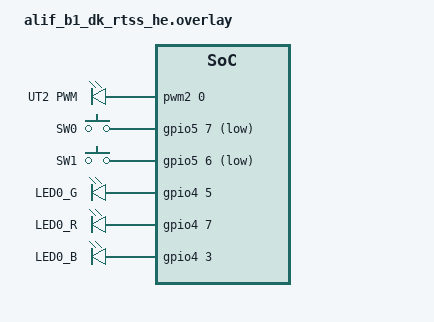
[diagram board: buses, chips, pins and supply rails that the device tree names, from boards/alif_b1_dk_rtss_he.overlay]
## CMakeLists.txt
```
# Copyright (C) 2024 Alif Semiconductor - All Rights Reserved.
# Use, distribution and modification of this code is permitted under the
# terms stated in the Alif Semiconductor Software License Agreement
#
# You should have received a copy of the Alif Semiconductor Software
# License Agreement with this file. If not, please write to:
# contact@alifsemi.com, or visit: https://alifsemi.com/license

cmake_minimum_required(VERSION 3.13.1)

if(CONFIG_CHIP_FACTORY_DATA)
set(EXTRA_DTC_OVERLAY_FILE "b1_factorydata_partition.overlay")
set(OVERLAY_CONFIG "factory_data.conf")
endif()

find_package(Zephyr REQUIRED HINTS $ENV{ZEPHYR_BASE})
project(matter-lighting-app)

set(CHIP_ROOT ${ZEPHYR_CONNECTEDHOMEIP_MODULE_DIR})
set(ALIF_COMMON ${ZEPHYR_SDK_ALIF_MODULE_DIR}/subsys/matter)
set(ALIF_PLATFORM ${CHIP_ROOT}/examples/platform/alif)
set(LIGHTING_COMMON ${CHIP_ROOT}/examples/lighting-app/lighting-common)
set(MATTER_GEN_DIR ${CHIP_ROOT}/zzz_generated/)

include(${ZEPHYR_CONNECTEDHOMEIP_MODULE_DIR}/config/alif/app/enable-gnu-std.cmake)
include(${ZEPHYR_CONNECTEDHOMEIP_MODULE_DIR}/src/app/chip_data_model.cmake)

# -Wmaybe-uninitialized has too many false positives, including on std::optional
# and chip::Optional.  Make it nonfatal.
#
# See https://gcc.gnu.org/bugzilla/show_bug.cgi?id=80635
target_compile_options(app PRIVATE -Werror -Wno-error=maybe-uninitialized)

target_include_directories(app PRIVATE
                           src/include
                           ${LIGHTING_COMMON}
                           ${MATTER_GEN_DIR}
                           ${MATTER_GEN_DIR}/app-common
                           ${MATTER_GEN_DIR}/lighting-app
                           ${ALIF_COMMON}/common
                           ${ALIF_COMMON}/icd
                           ${ALIF_COMMON}/pwmdevice)

target_sources(app PRIVATE
               src/main.cpp
               src/AppTask.cpp
               src/ZclCallbacks.cpp
               ${CHIP_ROOT}/src/app/util/persistence/DeferredAttributePersistenceProvider.cpp
               ${ALIF_COMMON}/icd/icdHandler.cpp
               ${ALIF_COMMON}/pwmdevice/PWMDevice.cpp
               ${ALIF_COMMON}/common/MatterStack.cpp
               ${ALIF_COMMON}/common/MatterUi.cpp
               ${ALIF_COMMON}/common/FabricTableDelegate.cpp)
              

chip_configure_data_model(app
    INCLUDE_SERVER
    ZAP_FILE ${CMAKE_CURRENT_SOURCE_DIR}/src/lighting-app.zap
)
```

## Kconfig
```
# Copyright(C) 2024 Alif Semiconductor - All Rights Reserved.
# Use, distribution and modification of this code is permitted under the
# terms stated in the Alif Semiconductor Software License Agreement
#
# You should have received a copy of the Alif Semiconductor Software
# License Agreement with this file.If not, please write to:
# contact @alifsemi.com, or visit : https: // alifsemi.com/license

mainmenu "Matter Alif SDK Connect Lighting Example Application with shell test commands"

# Sample configuration used for Thread networking
if NET_L2_OPENTHREAD

choice OPENTHREAD_DEVICE_TYPE
	default OPENTHREAD_MTD
endchoice

endif # NET_L2_OPENTHREAD

rsource "${ZEPHYR_CONNECTEDHOMEIP_MODULE_DIR}/config/alif/chip-module/Kconfig.features"
rsource "${ZEPHYR_CONNECTEDHOMEIP_MODULE_DIR}/config/alif/chip-module/Kconfig.defaults"
source "Kconfig.zephyr"
```

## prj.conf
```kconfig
#  Copyright (C) 2024 Alif Semiconductor - All Rights Reserved.
#  Use, distribution and modification of this code is permitted under the
#  terms stated in the Alif Semiconductor Software License Agreement
#
#  You should have received a copy of the Alif Semiconductor Software
#  License Agreement with this file. If not, please write to:
#  contact@alifsemi.com, or visit: https://alifsemi.com/license

# Disable XIP
CONFIG_XIP=y

# Enable CHIP
CONFIG_CHIP=y
CONFIG_CHIP_PROJECT_CONFIG="src/include/CHIPProjectConfig.h"
# 32773 == 0x8005 (example lighting-app)
CONFIG_CHIP_DEVICE_PRODUCT_ID=32773
CONFIG_STD_CPP17=y

CONFIG_OPENTHREAD_THREAD_STACK_SIZE=8000
CONFIG_LOG_MODE_DEFERRED=y
CONFIG_LOG=y
CONFIG_SHELL=y
CONFIG_LOG_BUFFER_SIZE=5020

# General networking settings
CONFIG_NET_IF_MCAST_IPV6_ADDR_COUNT=14

# Enable CHIP pairing automatically on application start.
CONFIG_CHIP_ENABLE_PAIRING_AUTOSTART=y
# After system reset subscribe request are activated a properly automatically
CONFIG_CHIP_PERSISTENT_SUBSCRIPTIONS=y

# Enable PWM
CONFIG_PWM=y

# OpenThread configuration
CONFIG_NET_L2_OPENTHREAD=y

#Network setup
CONFIG_NET_TCP=y
CONFIG_NET_IPV6_NBR_CACHE=n
CONFIG_NET_IPV6_MLD=n
CONFIG_NET_CONFIG_NEED_IPV4=n

## Openthread parameters
CONFIG_SHELL=y
CONFIG_OPENTHREAD_SHELL=y
CONFIG_SHELL_STACK_SIZE=3072
CONFIG_OPENTHREAD_THREAD_VERSION_1_3=y
CONFIG_OPENTHREAD_PING_SENDER=y
# Matter stack will will enable 15.4 interface
CONFIG_OPENTHREAD_MANUAL_START=y

# Bluetooth Low Energy configuration
CONFIG_BT_DEVICE_NAME="MatterLight"
CONFIG_BT_DEVICE_NAME_DYNAMIC=n

# BT configuration

CONFIG_BT=y
CONFIG_BT_CENTRAL=y
CONFIG_BT_PERIPHERAL=y
CONFIG_BT_PRIVACY=n
CONFIG_BT_SMP=y
CONFIG_BT_SIGNING=y
CONFIG_BT_ATT_PREPARE_COUNT=2
CONFIG_BT_GATT_CLIENT=y
CONFIG_BT_L2CAP_DYNAMIC_CHANNEL=y
CONFIG_BT_SHELL=y
CONFIG_BT_L2CAP_TX_BUF_COUNT=4
CONFIG_BT_ID_MAX=2
CONFIG_BT_EATT=y
CONFIG_BT_L2CAP_ECRED=y
CONFIG_BT_GATT_DYNAMIC_DB=y
CONFIG_BT_FILTER_ACCEPT_LIST=y
CONFIG_BT_REMOTE_INFO=y
CONFIG_BT_REMOTE_VERSION=y
CONFIG_BT_GATT_AUTO_DISCOVER_CCC=y

CONFIG_BT_EXT_ADV=y
CONFIG_BT_EXT_ADV_LEGACY_SUPPORT=y
CONFIG_BT_PER_ADV=y
CONFIG_BT_PER_ADV_SYNC=y

CONFIG_BT_USER_DATA_LEN_UPDATE=y
CONFIG_BT_AUTO_DATA_LEN_UPDATE=y

CONFIG_BT_USER_PHY_UPDATE=y
CONFIG_BT_AUTO_PHY_UPDATE=y

# Other settings
CONFIG_THREAD_NAME=y
CONFIG_CHIP_LIB_SHELL=y

# Reduce application size
CONFIG_USE_SEGGER_RTT=n

# Flash and Settings storage configutaion
CONFIG_FLASH=y
CONFIG_FLASH_PAGE_LAYOUT=y
CONFIG_FLASH_MAP=y
CONFIG_NVS=y
CONFIG_SETTINGS=y

# Disable GET Opt for fix duplicate implementation
CONFIG_GETOPT=n
CONFIG_IEEE802154_ALIF_AHI_MSG_LIB=y
```

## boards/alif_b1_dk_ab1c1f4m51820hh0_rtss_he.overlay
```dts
/* Copyright (C) 2024 Alif Semiconductor - All Rights Reserved.
 * Use, distribution and modification of this code is permitted under the
 * terms stated in the Alif Semiconductor Software License Agreement
 *
 * You should have received a copy of the Alif Semiconductor Software
 * License Agreement with this file. If not, please write to:
 * contact@alifsemi.com, or visit: https://alifsemi.com/license
 */
#include <dt-bindings/pinctrl/balletto-pinctrl.h>
#include <dt-bindings/gpio/gpio.h>
#include <zephyr/dt-bindings/input/input-event-codes.h>

/* for "buttons" node gpio5_7 & 5_6, enable software pull-up */


&{/} {
	chosen {
		zephyr,console = &uart2;
		zephyr,shell-uart = &uart2;
		zephyr,bt-uart = &uart_hci;
	};

	aliases {
		led0 = &aled1;
		led2 = &aled2;
		pwm-led0 = &pwm_ut2;
		sw0 = &button0;
	};

	buttons {
		compatible = "gpio-keys";
		button0: button_0 {
			gpios = < &gpio5 7 GPIO_ACTIVE_LOW >;
			label = "SW0";
			zephyr,code = <INPUT_KEY_0>;
		};
	};

	leds {
		compatible = "gpio-leds";
		aled0: led_0 {
			gpios = <&gpio4 5 0>;
			label = "LED0_G";
		};

		aled1: led_1 {
			gpios = <&gpio4 7 0>;
			label = "LED0_R";
		};

		aled2: led_2 {
			gpios = <&gpio4 3 0>;
			label = "LED0_B";
		};
	};

	pwmleds {

		compatible = "pwm-leds";
		pwm_ut2: pwm_ut2 {
			pwms = <&pwm2 1 PWM_MSEC(20) PWM_POLARITY_NORMAL>;
			label = "UT2 PWM";
		};
	};
};

&utimer2 {
	status = "okay";
	pwm2: pwm2 {
		pinctrl-0 = < &pinctrl_ut2 >;
		pinctrl-names = "default";
		status = "okay";
	};
};

&pinctrl_gpio5 {
	group0 {
		pinmux = < PIN_P5_0__GPIO >,
			 < PIN_P5_1__GPIO >,
			 < PIN_P5_2__GPIO >,
			 < PIN_P5_3__GPIO >,
			 < PIN_P5_4__GPIO >,
			 < PIN_P5_5__GPIO >,
			 < PIN_P5_6__GPIO >,
			 < PIN_P5_7__GPIO >;
		read-enable = < 0x1 >;
	};

	group1 {
		pinmux = < PIN_P5_7__GPIO >;
		driver-state-control = <1>;
	};
};
```

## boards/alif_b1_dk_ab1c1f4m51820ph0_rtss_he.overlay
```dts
/* Copyright (C) 2024 Alif Semiconductor - All Rights Reserved.
 * Use, distribution and modification of this code is permitted under the
 * terms stated in the Alif Semiconductor Software License Agreement
 *
 * You should have received a copy of the Alif Semiconductor Software
 * License Agreement with this file. If not, please write to:
 * contact@alifsemi.com, or visit: https://alifsemi.com/license
 */
#include <dt-bindings/pinctrl/balletto-pinctrl.h>
#include <dt-bindings/gpio/gpio.h>
#include <zephyr/dt-bindings/input/input-event-codes.h>

/* for "buttons" node gpio5_7 & 5_6, enable software pull-up */


&{/} {
	chosen {
		zephyr,console = &uart2;
		zephyr,shell-uart = &uart2;
		zephyr,bt-uart = &uart_hci;
	};

	aliases {
		led0 = &aled1;
		led2 = &aled2;
		pwm-led0 = &pwm_ut2;
		sw0 = &button0;
	};

	buttons {
		compatible = "gpio-keys";
		button0: button_0 {
			gpios = < &gpio5 7 GPIO_ACTIVE_LOW >;
			label = "SW0";
			zephyr,code = <INPUT_KEY_0>;
		};
	};

	leds {
		compatible = "gpio-leds";
		aled0: led_0 {
			gpios = <&gpio4 5 0>;
			label = "LED0_G";
		};

		aled1: led_1 {
			gpios = <&gpio4 7 0>;
			label = "LED0_R";
		};

		aled2: led_2 {
			gpios = <&gpio4 3 0>;
			label = "LED0_B";
		};
	};
};

&pinctrl_gpio5 {
	group0 {
		pinmux = < PIN_P5_0__GPIO >,
			 < PIN_P5_1__GPIO >,
			 < PIN_P5_2__GPIO >,
			 < PIN_P5_3__GPIO >,
			 < PIN_P5_4__GPIO >,
			 < PIN_P5_5__GPIO >,
			 < PIN_P5_6__GPIO >,
			 < PIN_P5_7__GPIO >;
		read-enable = < 0x1 >;
	};

	group1 {
		pinmux = < PIN_P5_7__GPIO >;
		driver-state-control = <1>;
	};
};
```

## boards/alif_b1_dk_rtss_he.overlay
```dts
/* Copyright (C) 2024 Alif Semiconductor - All Rights Reserved.
 * Use, distribution and modification of this code is permitted under the
 * terms stated in the Alif Semiconductor Software License Agreement
 *
 * You should have received a copy of the Alif Semiconductor Software
 * License Agreement with this file. If not, please write to:
 * contact@alifsemi.com, or visit: https://alifsemi.com/license
 */
#include <dt-bindings/pinctrl/balletto-pinctrl.h>
#include <dt-bindings/gpio/gpio.h>
#include <zephyr/dt-bindings/input/input-event-codes.h>

/* for "buttons" node gpio5_7 & 5_6, enable software pull-up */


&{/} {
	chosen {
		zephyr,console = &uart2;
		zephyr,shell-uart = &uart2;
		zephyr,bt-uart = &uart_hci;
	};

	aliases {
		led0 = &aled1;
		led2 = &aled2;
		pwm-led0 = &pwm_ut2;
		sw0 = &button0;
		sw1 = &button1;
	};
	pwmleds {
		compatible = "pwm-leds";
		pwm_ut2: pwm_ut2 {
			pwms = <&pwm2 0 PWM_MSEC(20) PWM_POLARITY_NORMAL>;
			label = "UT2 PWM";
		};
	};
	buttons {
		compatible = "gpio-keys";
		button0: button_0 {
			gpios = < &gpio5 7 GPIO_ACTIVE_LOW >;
			label = "SW0";
			zephyr,code = <INPUT_KEY_0>;
		};
		button1: button_1 {
			gpios = < &gpio5 6 GPIO_ACTIVE_LOW >;
			label = "SW1";
			zephyr,code = <INPUT_KEY_1>;
		};
	};

	leds {
		compatible = "gpio-leds";
		aled0: led_0 {
			gpios = <&gpio4 5 0>;
			label = "LED0_G";
		};

		aled1: led_1 {
			gpios = <&gpio4 7 0>;
			label = "LED0_R";
		};

		aled2: led_2 {
			gpios = <&gpio4 3 0>;
			label = "LED0_B";
		};
	};
};

&pinctrl_gpio5 {
	group0 {
		pinmux = < PIN_P5_0__GPIO >,
			 < PIN_P5_1__GPIO >,
			 < PIN_P5_2__GPIO >,
			 < PIN_P5_3__GPIO >,
			 < PIN_P5_4__GPIO >,
			 < PIN_P5_5__GPIO >,
			 < PIN_P5_6__GPIO >,
			 < PIN_P5_7__GPIO >;
		read_enable = < 0x1 >;
	};

	group1 {
		pinmux = < PIN_P5_6__GPIO >,
			 < PIN_P5_7__GPIO >;
		driver_state_control = <1>;
	};
};
```

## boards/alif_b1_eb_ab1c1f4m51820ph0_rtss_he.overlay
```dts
#include <zephyr/dt-bindings/dma/alif_dma_event_router.h>

#include <dt-bindings/pinctrl/balletto-pinctrl.h>
#include <dt-bindings/gpio/gpio.h>
#include <zephyr/dt-bindings/input/input-event-codes.h>

&{/} {
	chosen {
		zephyr,console = &uart2;
		zephyr,shell-uart = &uart2;
		zephyr,bt-hci = &alif_hci_uart;
		zephyr,hci-uart = &uart_hci;
		zephyr,uart-mcumgr = &uart2;
		zephyr,entropy = &rng;
	};

	aliases {
		led0 = &aled1;
		led2 = &aled2;
		pwm-led0 = &pwm_ut2;
		sw0 = &button0;
		watchdog0 = &wdog0;
	};

	leds {
		compatible = "gpio-leds";

		aled0: led_0 {
			gpios = <&gpio4 5 0>;
			label = "LED0_G";
		};

		aled1: led_1 {
			gpios = <&gpio4 7 0>;
			label = "LED0_R";
		};

		aled2: led_2 {
			gpios = <&gpio4 3 0>;
			label = "LED0_B";
		};
	};

	pwmleds {

		compatible = "pwm-leds";
		pwm_ut2: pwm_ut2 {
			pwms = <&pwm2 1 PWM_MSEC(20) PWM_POLARITY_NORMAL>;
			label = "UT2 PWM";
		};
	};

	buttons {
		compatible = "gpio-keys";

		button0: button_0 {
			gpios = < &gpio8 6 0 >;
			label = "SW0";
		};

		button1: button_1 {
			gpios = < &gpio8 7 0 >;
			label = "SW1";
		};
	};
};

&ieee802154 {
	status = "okay";
};

&utimer2 {
	status = "okay";
	pwm2: pwm2 {
		pinctrl-0 = < &pinctrl_ut2 >;
		pinctrl-names = "default";
		status = "okay";
	};
};

&uart2 {
	status = "okay";
};

&evtrtr2 {
	status = "okay";
};

&uart_hci {
	clock-frequency = <160000000>;
	/*
	 * Cell 0: ALIF_DMA_ENCODE(channel, dma_group, handshake)
	 *   - channel: Physical DMA channel (0 for RX, 1 for TX)
	 *   - dma_group: Input source selection (0) - selects which peripheral input
	 *   - handshake: Enable hardware handshaking (1 for UART)
	 * Cell 1: Peripheral request number (26 for RX, 27 for TX)
	 */
	dmas = <&evtrtr2 ALIF_DMA_ENCODE(HCI_UART_DMA_RX_CH, 0, 1) HCI_UART_DMA_RX_REQ>,
	       <&evtrtr2 ALIF_DMA_ENCODE(HCI_UART_DMA_TX_CH, 0, 1) HCI_UART_DMA_TX_REQ>;
	dma-names = "rx", "tx";
	status = "okay";
};

&uart_ahi {
	clock-frequency = <160000000>;
	pinctrl-0 = <&pinctrl_ahi_trace>;
	pinctrl-names = "default";
	/*
	 * Cell 0: ALIF_DMA_ENCODE(channel, dma_group, handshake)
	 *   - channel: Physical DMA channel (2 for RX, 3 for TX)
	 *   - dma_group: Input source selection (0) - selects which peripheral input
	 *   - handshake: Enable hardware handshaking (1 for UART)
	 * Cell 1: Peripheral request number (2 for RX, 3 for TX)
	 */
	dmas = <&evtrtr2 ALIF_DMA_ENCODE(AHI_UART_DMA_RX_CH, 0, 1) AHI_UART_DMA_RX_REQ>,
	       <&evtrtr2 ALIF_DMA_ENCODE(AHI_UART_DMA_TX_CH, 0, 1) AHI_UART_DMA_TX_REQ>;
	dma-names = "rx", "tx";
	status = "okay";
};

&dma2 {
	status = "okay";
};

&gpio4 {
	status = "okay";
};

&gpio8 {
	status = "okay";
};

&pinctrl_gpio8 {
	group0 {
		pinmux = < PIN_P8_0__GPIO >,
			 < PIN_P8_1__GPIO >,
			 < PIN_P8_2__GPIO >,
			 < PIN_P8_3__GPIO >,
			 < PIN_P8_4__GPIO >,
			 < PIN_P8_5__GPIO >,
			 < PIN_P8_6__GPIO >,
			 < PIN_P8_7__GPIO >;
		read-enable = < 0x1 >;
	};

	group1 {
		pinmux = < PIN_P8_6__GPIO >,
			 < PIN_P8_7__GPIO >;
		driver-state-control = <1>;
	};
};
```

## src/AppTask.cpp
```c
/* Copyright (C) 2024 Alif Semiconductor - All Rights Reserved.
 * Use, distribution and modification of this code is permitted under the
 * terms stated in the Alif Semiconductor Software License Agreement
 *
 * You should have received a copy of the Alif Semiconductor Software
 * License Agreement with this file. If not, please write to:
 * contact@alifsemi.com, or visit: https://alifsemi.com/license
 */

#include "AppTask.h"

#include "AppConfig.h"
#include "MatterStack.h"
#include "MatterUi.h"
#include "PWMDevice.h"
#include "icdHandler.h"
#include <app/InteractionModelEngine.h>
#include <DeviceInfoProviderImpl.h>
#include <app-common/zap-generated/attributes/Accessors.h>
#include <app/clusters/identify-server/identify-server.h>
#include <app/server/Dnssd.h>
#include <setup_payload/OnboardingCodesUtil.h>
#include <app/server/Server.h>
#include <app/util/persistence/DefaultAttributePersistenceProvider.h>
#include <app/util/persistence/DeferredAttributePersistenceProvider.h>
#include <credentials/DeviceAttestationCredsProvider.h>
#include <credentials/examples/DeviceAttestationCredsExample.h>
#include <lib/core/ErrorStr.h>
#include <lib/support/CHIPMem.h>
#include <lib/support/CodeUtils.h>
#include <system/SystemClock.h>

#include <zephyr/kernel.h>
#include <zephyr/device.h>
#include <zephyr/drivers/pwm.h>
#include <zephyr/logging/log.h>

LOG_MODULE_DECLARE(app, CONFIG_CHIP_APP_LOG_LEVEL);

using namespace ::chip;
using namespace ::chip::app;
using namespace ::chip::DeviceLayer;
namespace
{

constexpr EndpointId kLightEndpointId = 1;
constexpr uint8_t kDefaultMinLevel = 0;
constexpr uint8_t kDefaultMaxLevel = 254;
constexpr int kAppEventQueueSize = 10;

K_MSGQ_DEFINE(sAppEventQueue, sizeof(AppEvent), kAppEventQueueSize, alignof(AppEvent));

// Create Identify server
Identify sIdentify = {kLightEndpointId, AppTask::IdentifyStartHandler, AppTask::IdentifyStopHandler,
		      Clusters::Identify::IdentifyTypeEnum::kVisibleIndicator};

chip::DeviceLayer::DeviceInfoProviderImpl gExampleDeviceInfoProvider;

DeferredAttribute gCurrentLevelPersister(
	ConcreteAttributePath(kLightEndpointId, Clusters::LevelControl::Id,
			      Clusters::LevelControl::Attributes::CurrentLevel::Id));

DefaultAttributePersistenceProvider gSimpleAttributePersistence;

DeferredAttributePersistenceProvider
	gDeferredAttributePersister(gSimpleAttributePersistence,
				    Span<DeferredAttribute>(&gCurrentLevelPersister, 1),
				    System::Clock::Milliseconds32(5000));

const struct pwm_dt_spec sLightPwmDevice = PWM_DT_SPEC_GET(DT_ALIAS(pwm_led0));

} // namespace

CHIP_ERROR AppTask::DevInit()
{
	LOG_INF("Init Lighting-app cluster");

	// Initialize lighting device (PWM)
	uint8_t minLightLevel = kDefaultMinLevel;
	Clusters::LevelControl::Attributes::MinLevel::Get(kLightEndpointId, &minLightLevel);

	uint8_t maxLightLevel = kDefaultMaxLevel;
	Clusters::LevelControl::Attributes::MaxLevel::Get(kLightEndpointId, &maxLightLevel);

	uint8_t current = 0;
	app::DataModel::Nullable<uint8_t> currentLevel;

	Clusters::LevelControl::Attributes::CurrentLevel::Get(kLightEndpointId, currentLevel);
	if (!currentLevel.IsNull()) {
		current = currentLevel.Value();
	}

	int ret = Instance().mPWMDevice.Init(&sLightPwmDevice, minLightLevel, maxLightLevel, maxLightLevel);
	if (ret != 0) {
		return chip::System::MapErrorZephyr(ret);
	}
	// Register PWM device init and activate callback's
	Instance().mPWMDevice.SetCallbacks(ActionInitiated, ActionCompleted);
	/* SET a stored value */
	if (current) {
		AppTask::Instance().GetPWMDevice().InitiateAction(
			PWMDevice::LEVEL_ACTION,
			static_cast<int32_t>(AppEventType::Lighting),
			reinterpret_cast<uint8_t *>(&current));
	}

	// Init modified persistent storage setup
	gExampleDeviceInfoProvider.SetStorageDelegate(
		&Server::GetInstance().GetPersistentStorage());
	chip::DeviceLayer::SetDeviceInfoProvider(&gExampleDeviceInfoProvider);

	VerifyOrDie(gSimpleAttributePersistence.Init(&Server::GetInstance().GetPersistentStorage()) == CHIP_NO_ERROR);
	app::SetAttributePersistenceProvider(&gDeferredAttributePersister);
	MatterUi::Instance().Init(AppTask::ButtonUpdateHandler);

	return CHIP_NO_ERROR;
}

void AppTask::ButtonUpdateHandler(uint32_t button_state, uint32_t has_changed)
{
	if (has_changed & 1) {
		if (button_state & 1) {
			LOG_INF("Factoryreset button pressed");
		} else {
			LOG_INF("Factoryreset button released");
		}
		MatterUi::Instance().AppFactoryResetEventTrig();
	}
}

void AppTask::PostEvent(AppEvent *aEvent)
{
	if (!aEvent) {
		return;
	}

	if (k_msgq_put(&sAppEventQueue, aEvent, K_NO_WAIT) != 0) {
		LOG_INF("PostEvent fail");
	}
}

void AppTask::DispatchEvent(const AppEvent *aEvent)
{
	if (!aEvent) {
		return;
	}
	if (aEvent->Handler) {
		aEvent->Handler(aEvent);
	} else {
		LOG_INF("Dropping event without handler");
	}
}

void AppTask::GetEvent(AppEvent *aEvent)
{
	k_msgq_get(&sAppEventQueue, aEvent, K_FOREVER);
}

void AppTask::IdentifyStartHandler(Identify *)
{
	AppEvent event;
	event.Type = AppEventType::IdentifyStart;
	event.Handler = [](const AppEvent *) {
		MatterStack::Instance().IdentifyLedState(true);
		LOG_INF("Identify start");
	};
	PostEvent(&event);
}

void AppTask::IdentifyStopHandler(Identify *)
{
	AppEvent event;
	event.Type = AppEventType::IdentifyStop;
	event.Handler = [](const AppEvent *) {
		LOG_INF("Identify stop");
		MatterStack::Instance().IdentifyLedState(false);
	};
	PostEvent(&event);
}

void AppTask::LightingActionEventHandler(const AppEvent *event)
{
	if (event->Type != AppEventType::Lighting) {
		return;
	}

	PWMDevice::Action_t action = static_cast<PWMDevice::Action_t>(event->LightingEvent.Action);
	int32_t actor = event->LightingEvent.Actor;

	LOG_INF("Light state to %d by %d", action, actor);

	if (Instance().mPWMDevice.InitiateAction(action, actor, NULL)) {
		LOG_INF("Action is already in progress or active.");
	}
}

void AppTask::StartBLEAdvertisementHandler(const AppEvent *)
{
	if (Server::GetInstance().GetFabricTable().FabricCount() != 0) {
		LOG_INF("Matter service BLE advertising not started - device is already "
			"commissioned");
		return;
	}

	if (ConnectivityMgr().IsBLEAdvertisingEnabled()) {
		LOG_INF("BLE advertising is already enabled");
		return;
	}

	if (Server::GetInstance().GetCommissioningWindowManager().OpenBasicCommissioningWindow() !=
	    CHIP_NO_ERROR) {
		LOG_ERR("OpenBasicCommissioningWindow() failed");
	}
}

void AppTask::ActionInitiated(PWMDevice::Action_t action, int32_t actor)
{
	if (action == PWMDevice::ON_ACTION) {
		LOG_INF("Turn On Action has been initiated");
	} else if (action == PWMDevice::OFF_ACTION) {
		LOG_INF("Turn Off Action has been initiated");
	} else if (action == PWMDevice::LEVEL_ACTION) {
		LOG_INF("Level Action has been initiated");
	}
	MatterStack::Instance().StatusLedBlink();
}

void AppTask::ActionCompleted(PWMDevice::Action_t action, int32_t actor)
{
	if (action == PWMDevice::ON_ACTION) {
		LOG_INF("Turn On Action has been completed");
	} else if (action == PWMDevice::OFF_ACTION) {
		LOG_INF("Turn Off Action has been completed");
	} else if (action == PWMDevice::LEVEL_ACTION) {
		LOG_INF("Level Action has been completed");
	}

	if (actor == static_cast<int32_t>(AppEventType::ShellButton)) {
		Instance().UpdateClusterState();
	}
}

void AppTask::UpdateClusterState()
{
	SystemLayer().ScheduleLambda([this] {
		// write the new on/off value
		Protocols::InteractionModel::Status status =
			Clusters::OnOff::Attributes::OnOff::Set(kLightEndpointId,
								mPWMDevice.IsTurnedOn());

		if (status != Protocols::InteractionModel::Status::Success) {
			LOG_ERR("Updating on/off cluster failed: %x", to_underlying(status));
		}

		// write the current level
		status = Clusters::LevelControl::Attributes::CurrentLevel::Set(
			kLightEndpointId, mPWMDevice.GetLevel());

		if (status != Protocols::InteractionModel::Status::Success) {
			LOG_ERR("Updating level cluster failed: %x", to_underlying(status));
		}
	});
}

CHIP_ERROR AppTask::Init()
{
	/* Initialize Matter stack */
	ReturnErrorOnFailure(MatterStack::Instance().matter_stack_init(DevInit));

	chip::app::InteractionModelEngine::GetInstance()->RegisterReadHandlerAppCallback(
		&ICDHandler::Instance());

	/* Start Matter sheduler */
	ReturnErrorOnFailure(MatterStack::Instance().matter_stack_start());

	return CHIP_NO_ERROR;
}

CHIP_ERROR AppTask::StartApp()
{
	ReturnErrorOnFailure(Init());

	AppEvent event = {};

	while (true) {
		GetEvent(&event);
		DispatchEvent(&event);
	}

	return CHIP_NO_ERROR;
}
```

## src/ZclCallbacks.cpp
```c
/* Copyright (C) 2024 Alif Semiconductor - All Rights Reserved.
 * Use, distribution and modification of this code is permitted under the
 * terms stated in the Alif Semiconductor Software License Agreement
 *
 * You should have received a copy of the Alif Semiconductor Software
 * License Agreement with this file. If not, please write to:
 * contact@alifsemi.com, or visit: https://alifsemi.com/license
 */

#include "AppTask.h"
#include "PWMDevice.h"

#include <app-common/zap-generated/attributes/Accessors.h>
#include <app-common/zap-generated/ids/Attributes.h>
#include <app-common/zap-generated/ids/Clusters.h>
#include <app/ConcreteAttributePath.h>

#include <zephyr/logging/log.h>

LOG_MODULE_DECLARE(app, CONFIG_CHIP_APP_LOG_LEVEL);

using namespace chip;
using namespace chip::app::Clusters;
using namespace chip::app::Clusters::OnOff;

void MatterPostAttributeChangeCallback(const chip::app::ConcreteAttributePath &attributePath,
				       uint8_t type, uint16_t size, uint8_t *value)
{
	ClusterId clusterId = attributePath.mClusterId;
	AttributeId attributeId = attributePath.mAttributeId;

	if (clusterId == OnOff::Id && attributeId == OnOff::Attributes::OnOff::Id) {
		LOG_INF("Cluster OnOff: attribute OnOff set to %u", *value);
		AppTask::Instance().GetPWMDevice().InitiateAction(
			*value ? PWMDevice::ON_ACTION : PWMDevice::OFF_ACTION,
			static_cast<int32_t>(AppEventType::Lighting), value);
	} else if (clusterId == LevelControl::Id &&
		   attributeId == LevelControl::Attributes::CurrentLevel::Id) {
		LOG_INF("Cluster LevelControl: attribute CurrentLevel set to %u", *value);
		if (AppTask::Instance().GetPWMDevice().IsTurnedOn()) {
			AppTask::Instance().GetPWMDevice().InitiateAction(
				PWMDevice::LEVEL_ACTION,
				static_cast<int32_t>(AppEventType::Lighting), value);
		} else {
			LOG_INF("LED is off. Try to use move-to-level-with-on-off "
				"instead of move-to-level");
		}
	}
}

void emberAfOnOffClusterInitCallback(EndpointId endpoint)
{
	Protocols::InteractionModel::Status status;
	bool storedValue;

	// Read storedValue on/off value
	status = Attributes::OnOff::Get(endpoint, &storedValue);
	if (status == Protocols::InteractionModel::Status::Success) {
		// Set actual state to the cluster state that was last persisted
		AppTask::Instance().GetPWMDevice().InitiateAction(
			storedValue ? PWMDevice::ON_ACTION : PWMDevice::OFF_ACTION,
			static_cast<int32_t>(AppEventType::Lighting),
			reinterpret_cast<uint8_t *>(&storedValue));
	}

	AppTask::Instance().UpdateClusterState();
}
```
